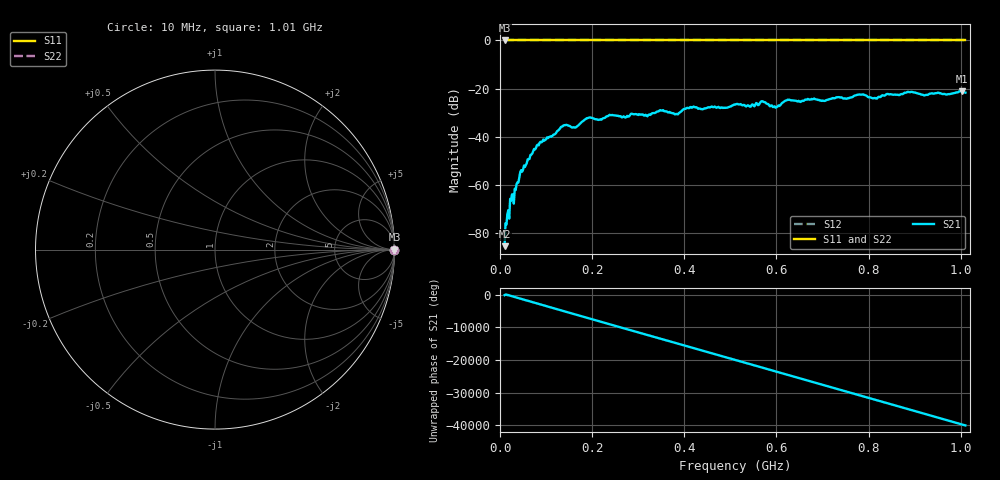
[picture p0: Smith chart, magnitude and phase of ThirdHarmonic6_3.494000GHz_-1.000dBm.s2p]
! 8/17/2025 11:23:47 AM
! C:\ANRITSUVNA\TEMP\TEMP.S2P
! CHANNEL.1
! TR.MEASUREMENT
! RAW.DATA
! RF.CORRECTION.OFF
! AVERAGING.OFF
! IF.BANDWIDTH: 5KHZ
! SWEEPTYPE:  FREQ.SWEEP(Linear)
! Reference Plane Port Info
! PORT:  PORT1  PORT2
! DISTANCE:  0  m  0  m
! TIME:  0  s  0  s
! PHASE.OFFSET:  0  deg.  0  deg.
! LOSS:  0  dB  0  dB
! REF.LOSS:  0  dB  0  dB
! REF.FREQ:  0  Hz  0  Hz
! Power Info
! POWER:  -20  dBm  -20  dBm
! EFF.POWER:  -20  dBm  -20  dBm
! SOURCE.ATTEN:  0  dB  0  dB
! TEST.ATTEN:  0  dB  0  dB
# GHZ S RI R 50.0
! FREQ.GHZ  S11RE  S11IM  S21RE  S21IM  S12RE  S12IM  S22RE  S22IM
!; PortSelection: Port_12
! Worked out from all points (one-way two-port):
!   501 points, 10 MHz to 1.01 GHz, reference 50 ohm
!   highest |S21| = -21.05 dB at 1.002 GHz (marker M1); lowest = -85.4 dB at 10 MHz (marker M2)
!   lowest |S11| = 0.0 dB at 10 MHz (marker M3)
!   |S11| at or under -10 dB: nowhere
!   |S22| runs from 0.0 to 0.0 dB; largest |S21 - S12| = 1.1
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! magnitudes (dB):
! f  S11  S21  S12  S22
! 10 MHz  0.0  -85.4  0.0  0.0
! 22 MHz  0.0  -65.8  0.0  0.0
! 42 MHz  0.0  -56.8  0.0  0.0
! 78 MHz  0.0  -44.7  0.0  0.0
! 136 MHz  0.0  -35.7  0.0  0.0
! 162 MHz  0.0  -36.2  0.0  0.0
! 178 MHz  0.0  -33.7  0.0  0.0
! 192 MHz  0.0  -32.1  0.0  0.0
! 316 MHz  0.0  -30.8  0.0  0.0
! 344 MHz  0.0  -29.5  0.0  0.0
! 382 MHz  0.0  -30.5  0.0  0.0
! 416 MHz  0.0  -27.9  0.0  0.0
! 510 MHz  0.0  -26.6  0.0  0.0
! 570 MHz  0.0  -25.3  0.0  0.0
! 596 MHz  0.0  -27.3  0.0  0.0
! 624 MHz  0.0  -24.6  0.0  0.0
! 678 MHz  0.0  -24.4  0.0  0.0
! 784 MHz  0.0  -22.5  0.0  0.0
! 814 MHz  0.0  -23.9  0.0  0.0
! 844 MHz  0.0  -22.4  0.0  0.0
! 1.002 GHz  0.0  -21.0  0.0  0.0
! 1.01 GHz  0.0  -21.7  0.0  0.0
